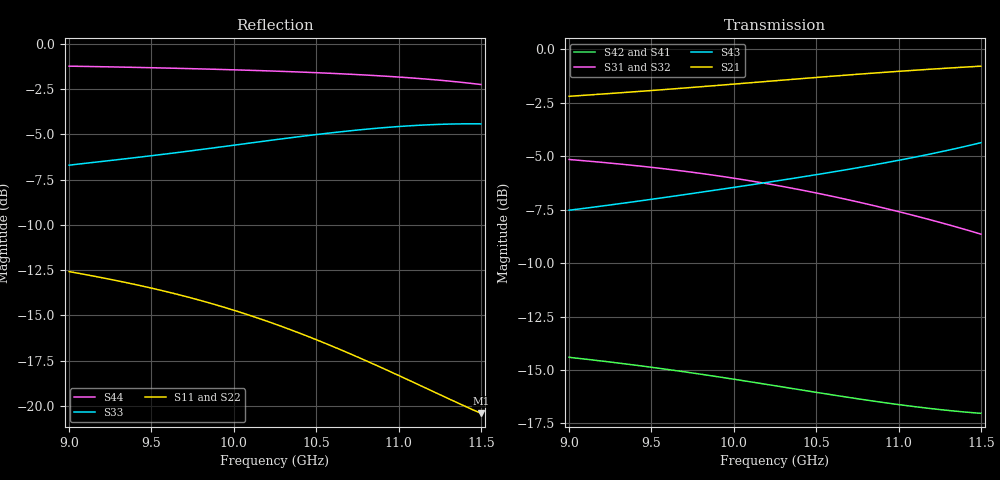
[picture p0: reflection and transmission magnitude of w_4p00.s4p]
! Touchstone file exported from HFSS 2025.2.4
!  File:  C:/Users/chaoy/Documents/single_magictee_v1_w400/single_magictee_v1.aedt
!  Generated:  08:57:11 AM Sep 19, 2026
!  Design:  SingleMagicT_v1
!  Project:  single_magictee_v1
! Variables:
!  f_adapt = 10.2GHz
!  ridge_g1 = 7.672mm
!  ridge_g2 = 4.984mm
!  ridge_l1 = 9.872mm
!  ridge_l2 = 8.857mm
!  ridge_w = 4mm
!  wg_a = 22.86mm
!  wg_b = 10.16mm
!Data is not renormalized
# GHz S MA
! Terminal data exported
! Port[1] = P1_CollinearMinusX
! Port[2] = P2_CollinearPlusX
! Port[3] = P3_HArm_Ridged
! Port[4] = P4_EArm
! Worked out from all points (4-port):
!   101 points, 9 GHz to 11.5 GHz, reference per port
!   strongest paths, dB at 9 GHz, 9.625 GHz, 10.25 GHz, 10.88 GHz, 11.5 GHz:
!     S21: -2.2, -1.9, -1.5, -1.1, -0.8
!     S43: -7.5, -6.9, -6.2, -5.4, -4.4
!     S31: -5.2, -5.6, -6.3, -7.4, -8.6
!     S32: -5.2, -5.6, -6.4, -7.3, -8.6
!     S42: -14.4, -15.0, -15.7, -16.5, -17.0
!     S41: -14.4, -15.0, -15.8, -16.5, -17.1
!   lowest |S11| = -20.4 dB at 11.5 GHz (marker M1), VSWR 1.21
!   |S11| at or under -10 dB: start of sweep to end of sweep
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9  0.2349 -11.0  0.7767 -169.3  0.5526 110.9  0.19 72.0
   0.7767 -169.3  0.2369 -10.6  0.5517 111.0  0.1903 72.0
   0.5526 110.9  0.5517 111.0  0.462 -145.9  0.4205 123.7
   0.19 72.0  0.1903 72.0  0.4205 123.7  0.8665 -120.0
9.55  0.209 -77.3  0.804 126.4  0.5271 43.5  0.1789 -0.4
      0.804 126.4  0.2106 -76.8  0.5263 43.6  0.1793 -0.4
      0.5271 43.5  0.5263 43.6  0.4937 142.2  0.4488 57.4
      0.1789 -0.4  0.1793 -0.4  0.4488 57.4  0.857 171.4
9.9  0.1897 -117.6  0.8236 87.1  0.5063 1.4  0.171 -45.3
     0.8236 87.1  0.1907 -117.0  0.5058 1.6  0.1715 -45.2
     0.5063 1.4  0.5058 1.6  0.5172 96.8  0.4693 16.2
     0.171 -45.3  0.1715 -45.2  0.4693 16.2  0.8492 129.5
10.225  0.1699 -153.7  0.8431 51.2  0.4834 -37.1  0.1633 -86.4
        0.8431 51.2  0.17 -153.3  0.4831 -36.9  0.1639 -86.3
        0.4834 -37.1  0.4831 -36.9  0.5411 55.3  0.4901 -21.7
        0.1633 -86.4  0.1639 -86.3  0.4901 -21.7  0.8404 91.6
10.575  0.1477 168.5  0.8643 13.1  0.4551 -78.0  0.1552 -130.0
        0.8643 13.1  0.1465 168.8  0.4552 -77.8  0.156 -129.9
        0.4551 -78.0  0.4552 -77.8  0.5662 11.4  0.5148 -62.1
        0.1552 -130.0  0.156 -129.9  0.5148 -62.1  0.8286 51.5
10.9  0.1274 134.4  0.8831 -21.9  0.4265 -115.4  0.1484 -170.1
      0.8831 -21.9  0.1253 134.3  0.4268 -115.2  0.1494 -170.0
      0.4265 -115.4  0.4268 -115.2  0.5858 -28.8  0.5412 -99.3
      0.1484 -170.1  0.1494 -170.0  0.5412 -99.3  0.8141 14.6
11.5  0.09548 69.7  0.9137 -86.1  0.3696 176.3  0.1395 115.8
      0.9137 -86.1  0.09257 69.2  0.3699 176.4  0.1408 115.9
      0.3696 176.3  0.3699 176.4  0.6005 -102.5  0.605 -168.3
      0.1395 115.8  0.1408 115.9  0.605 -168.3  0.7712 -53.0
